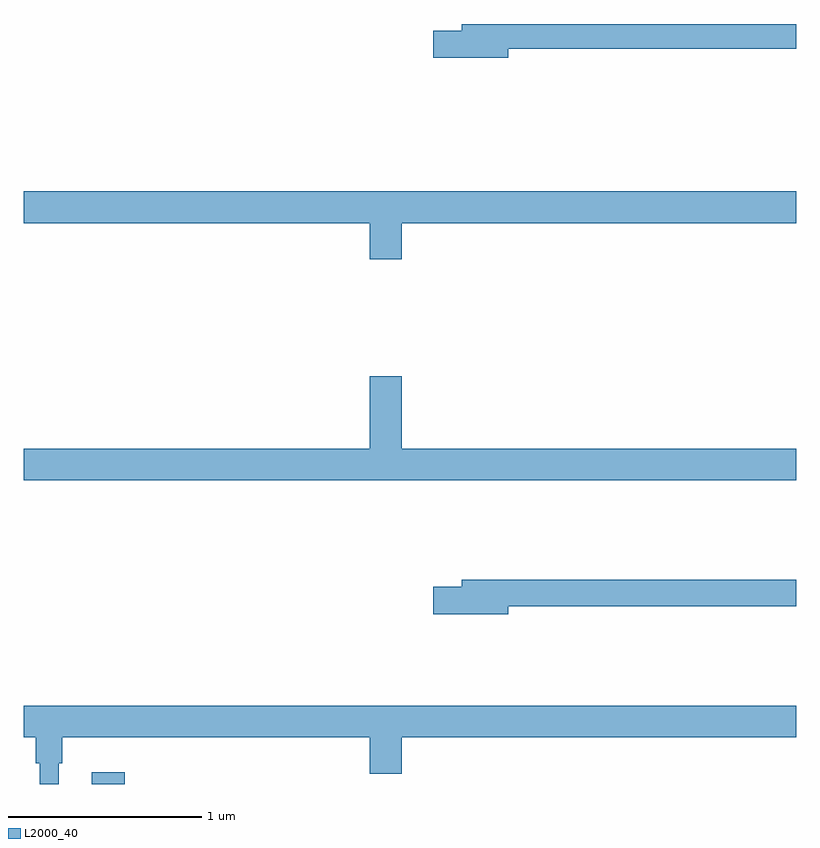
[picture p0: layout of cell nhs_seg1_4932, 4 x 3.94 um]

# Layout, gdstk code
import gdstk
lib = gdstk.Library(unit=1e-6, precision=1e-09)
def R(c, l, rs):  # rectangles x0, y0, x1, y1
    for r in rs: c.add(gdstk.rectangle(r[:2], r[2:], *l))
def P(c, l, *ps):  # polygons
    for p in ps: c.add(gdstk.Polygon(p, *l))
L2000_40 = (2000, 40)

nhs_seg1_4932 = lib.new_cell('nhs_seg1_4932')
R(nhs_seg1_4932, L2000_40, [(379.352,510.199,379.523,510.259)])
P(nhs_seg1_4932, L2000_40, [(381.508,514.006),(383,514.006),(383,514.135),(381.269,514.135),(381.269,514.101),(381.12,514.101),(381.12,513.959),(381.508,513.959)],
  [(380.956,513.104),(383,513.104),(383,513.268),(379,513.268),(379,513.104),(380.792,513.104),(380.792,512.916),(380.956,512.916)],
  [(383,511.936),(380.956,511.936),(380.956,512.311),(380.792,512.311),(380.792,511.936),(379,511.936),(379,511.772),(383,511.772)],
  [(381.508,511.12),(383,511.12),(383,511.256),(381.269,511.256),(381.269,511.22),(381.12,511.22),(381.12,511.078),(381.508,511.078)],
  [(379.18,510.306),(379.199,510.306),(379.199,510.44),(380.792,510.44),(380.792,510.252),(380.956,510.252),(380.956,510.44),(383,510.44),(383,510.604),(379,510.604),(379,510.44),(379.063,510.44),(379.063,510.306),(379.082,510.306),(379.082,510.199),(379.18,510.199)])

lib.write_gds('nhs_seg1_4932.gds')
